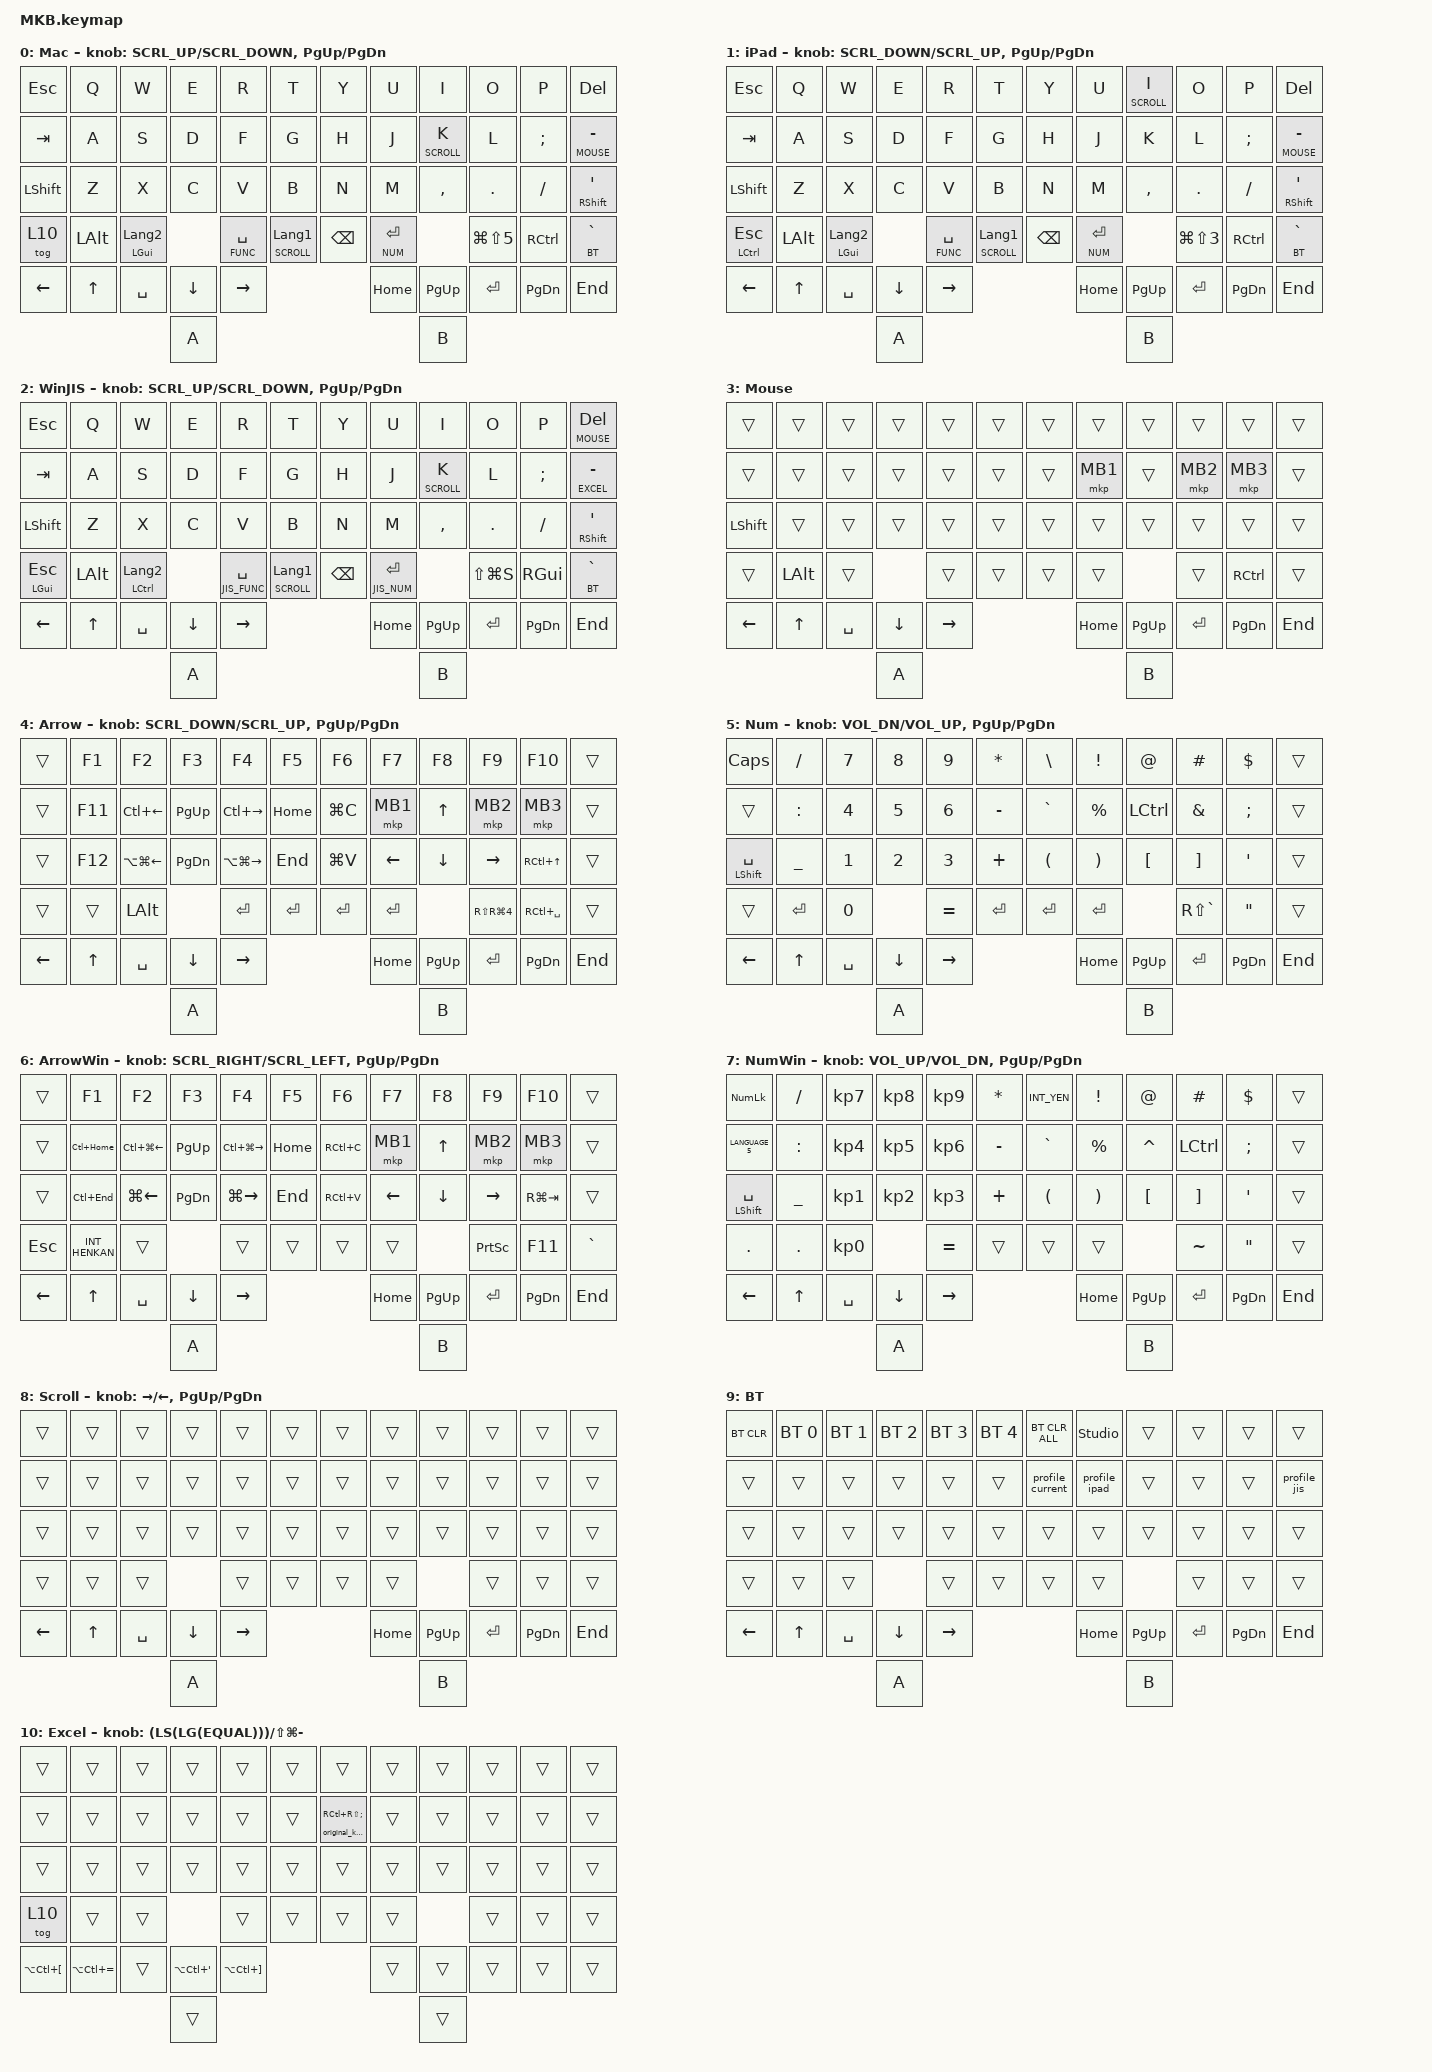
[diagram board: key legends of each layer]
// Wheel speed for &msc SCRL_UP / SCRL_DOWN. Must be defined before every include.

#define ZMK_POINTING_DEFAULT_SCRL_VAL 150

#include <behaviors.dtsi>
#include <dt-bindings/zmk/bt.h>
#include <dt-bindings/zmk/keys.h>
#include <dt-bindings/zmk/pointing.h>
#include "MKB_jis.dtsi"

// Must stay after the JIS/key/board headers: it redefines RC for both matrix and modifier use.

#include "MKB_modifiers.h"

// Layer order follows LiNEA40. These stay plain single-level numeric defines in this file
// (not in an include) so Keymap Editor can resolve them.

#define DEF 0
#define IPAD 1
#define JIS 2
#define MOUSE 3
#define FUNC 4
#define NUM 5
#define JIS_FUNC 6
#define JIS_NUM 7
#define SCROLL 8
#define BT 9
#define EXCEL 10

// Aliases for &kp. These are US semantic inputs (the layout shift converts them once for the JIS
// OS), not raw JIS physical codes.

#define JP_YEN          INT_YEN
#define JP_TILDE        TILDE
#define JP_BACKQUOTE    GRAVE
#define JP_UNDERSCORE   UNDERSCORE

&mt {
    flavor = "balanced";
    tapping-term-ms = <280>;
    quick-tap-ms = <175>;
    require-prior-idle-ms = <150>;
};

// Mouse wheel timing used by the encoder (same values as LiNEA40).

&msc {
    delay-ms = <3>;
    trigger-period-ms = <3>;
    time-to-max-speed-ms = <100>;
    acceleration-exponent = <0>;
};

// Layout-aware &kp (zmk-layout-shift v2 override), copied here so it comes after behaviors.dtsi
// and keeps working when Keymap Editor reorders the includes. The label property must stay
// identical to the kpls node: behavior lookup is by that shared label, so the single driver
// instance answers for both.

/ {
    behaviors {
        original_key_press: original_key_press {
            compatible = "zmk,behavior-key-press";
            #binding-cells = <1>;
            label = "KEY_PRESS";
        };

        kp: key_press {
            compatible = "zmk,behavior-layout-shift-key-press";
            #binding-cells = <1>;
            label = "LAYOUT_SHIFT_KEY_PRESS";
            display-name = "Key Press";
        };
    };
};

// The driver defines a single instance, so only &kp may stay enabled. mtls is a separate
// hold-tap; its keypress bindings are resolved through the shared label property, not through
// the same DT node. (The AML processor no longer looks at &kp: see the Mouse layer comment.)

&kpls { status = "disabled"; };

/ {
    behaviors {
        // Mouse wheel on the encoder: &encoder_msc_scroll <cw> <ccw>. The LiNEA40 values were the
        // initial reference; the Mac / iPad / WinJIS directions were then reversed for the user.

        encoder_msc_scroll: encoder_msc_scroll {
            compatible = "zmk,behavior-sensor-rotate-var";
            #sensor-binding-cells = <2>;
            bindings = <&msc>, <&msc>;

            tap-ms = <20>;
        };

        // Same timing as &lt. Holding enables Mouse (3) and protects it from the AML timeout.

        lt_mouse_keep: lt_mouse_keep {
            compatible = "zmk,behavior-hold-tap";
            #binding-cells = <2>;
            display-name = "Mouse Layer-Tap (AML guard)";
            flavor = "tap-preferred";
            tapping-term-ms = <200>;
            bindings = <&mouse_hold_keep>, <&kp>;
        };

        // Only sets the keep flag of the AML processor; it does not activate any layer.
        // Needs the runtime input processor labelled aml3 (snippets/Default/Default.overlay).

        keep_aml_mouse: keep_aml_mouse {
            compatible = "zmk,behavior-input-processor-temp-layer-keep-active";
            #binding-cells = <0>;
            display-name = "Keep AML Mouse";
            processor-name = "aml3";
        };
    };

    macros {
        // Keep flag first (only sets the flag, does not activate a layer), then the layer.
        // Released in the opposite order; after the release the keep flag is cleared and normal AML resumes.

        mouse_hold_keep: mouse_hold_keep {
            compatible = "zmk,behavior-macro-one-param";
            #binding-cells = <1>;
            display-name = "Mouse Hold (keep AML)";
            wait-ms = <0>;
            tap-ms = <0>;
            bindings =
                <&macro_press>,
                <&keep_aml_mouse &macro_param_1to1 &mo MACRO_PLACEHOLDER>,
                <&macro_pause_for_release>,
                <&macro_release>,
                <&macro_param_1to1 &mo MACRO_PLACEHOLDER &keep_aml_mouse>;
        };

        // Profile selectors for the BT layer: conversion state and base layer change together.
        // They do not touch Bluetooth pairing (use the BT_SEL keys for that).

        profile_current: profile_current {
            compatible = "zmk,behavior-macro";
            #binding-cells = <0>;
            display-name = "Profile: Mac";
            bindings = <&tog_ls_off &to DEF>;
        };

        profile_ipad: profile_ipad {
            compatible = "zmk,behavior-macro";
            #binding-cells = <0>;
            display-name = "Profile: iPad";
            bindings = <&tog_ls_off &to IPAD>;
        };

        profile_jis: profile_jis {
            compatible = "zmk,behavior-macro";
            #binding-cells = <0>;
            display-name = "Profile: WinJIS";
            bindings = <&tog_ls_on &to JIS>;
        };
    };
};

/ {
    combos {
        compatible = "zmk,combos";

        combo_1 {
            bindings = <&mkp MB1>;
            key-positions = <19 20>;
            layers = <0 1 2>;
            timeout-ms = <50>;
        };

        combo_2 {
            bindings = <&mkp MB2>;
            key-positions = <20 21>;
            layers = <0 1 2>;
            timeout-ms = <50>;
        };
    };
};

/ {
    keymap {
        compatible = "zmk,keymap";

        // ---- Layer 0: Mac (US layout OS). Fully explicit, no &trans: Keymap Editor shows every key. ----

        default_layer {
            label = "Mac";
            bindings = <
&kp ESCAPE  &kp Q         &kp W                    &kp E     &kp R           &kp T                      &kp Y          &kp U          &kp I         &kp O           &kp P      &kp DELETE
&kp TAB     &kp A         &kp S                    &kp D     &kp F           &kp G                      &kp H          &kp J          &lt SCROLL K  &kp L           &kp SEMI   &lt_mouse_keep MOUSE MINUS
&kp LSHFT   &kp Z         &kp X                    &kp C     &kp V           &kp B                      &kp N          &kp M          &kp COMMA     &kp DOT         &kp SLASH  &mt RIGHT_SHIFT SQT
&tog 10     &kp LEFT_ALT  &mt LEFT_GUI LANGUAGE_2            &lt FUNC SPACE  &lt SCROLL LANGUAGE_1      &kp BACKSPACE  &lt NUM ENTER                &kp LG(LS(N5))  &kp RCTRL  &lt BT GRAVE
&kp LEFT    &kp UP        &kp SPACE                &kp DOWN  &kp RIGHT                                                 &kp HOME       &kp PG_UP     &kp ENTER       &kp PG_DN  &kp END
                                                   &kp A                                                                              &kp B
            >;

            sensor-bindings =
                <&encoder_msc_scroll SCRL_UP SCRL_DOWN>,
                <&inc_dec_kp PG_UP PG_DN>;
        };

        // ---- Layer 1: iPad. Mac copy with the LiNEA40 differences: Scroll on I (K is plain),
        // iPad screenshot at 43, encoder direction reversed. Fully explicit. ----

        ipad_layer {
            label = "iPad";
            bindings = <
&kp ESCAPE    &kp Q         &kp W                    &kp E     &kp R           &kp T                      &kp Y          &kp U          &lt SCROLL I  &kp O           &kp P      &kp DELETE
&kp TAB       &kp A         &kp S                    &kp D     &kp F           &kp G                      &kp H          &kp J          &kp K         &kp L           &kp SEMI   &lt_mouse_keep MOUSE MINUS
&kp LSHFT     &kp Z         &kp X                    &kp C     &kp V           &kp B                      &kp N          &kp M          &kp COMMA     &kp DOT         &kp SLASH  &mt RIGHT_SHIFT SQT
&mt LCTL ESC  &kp LEFT_ALT  &mt LEFT_GUI LANGUAGE_2            &lt FUNC SPACE  &lt SCROLL LANGUAGE_1      &kp BACKSPACE  &lt NUM ENTER                &kp LG(LS(N3))  &kp RCTRL  &lt BT GRAVE
&kp LEFT      &kp UP        &kp SPACE                &kp DOWN  &kp RIGHT                                                 &kp HOME       &kp PG_UP     &kp ENTER       &kp PG_DN  &kp END
                                                     &kp A                                                                              &kp B
            >;

            sensor-bindings =
                <&encoder_msc_scroll SCRL_DOWN SCRL_UP>,
                <&inc_dec_kp PG_UP PG_DN>;
        };

        // ---- Layer 2: WinJIS (Windows, OS set to a JIS keyboard layout). Selected from the BT layer. ----
        // Mac copy with the Windows keys: Win/Esc at 36, MUHENKAN at 38, HENKAN (Scroll) at 40,
        // JFnc/JNum on the thumbs, Win+Shift+S screenshot. Fully explicit.
        // Minus (23) holds Excel (10). The manual Mouse layer moves to Delete (11), because the
        // 41-key LiNEA40 has no spare key for it on the MKB 58-key layout.

        jis_layer {
            label = "WinJIS";
            bindings = <
&kp ESCAPE        &kp Q         &kp W                 &kp E     &kp R               &kp T                      &kp Y          &kp U              &kp I         &kp O          &kp P          &lt_mouse_keep MOUSE DELETE
&kp TAB           &kp A         &kp S                 &kp D     &kp F               &kp G                      &kp H          &kp J              &lt SCROLL K  &kp L          &kp SEMI       &lt EXCEL MINUS
&kp LSHFT         &kp Z         &kp X                 &kp C     &kp V               &kp B                      &kp N          &kp M              &kp COMMA     &kp DOT        &kp SLASH      &mt RIGHT_SHIFT SQT
&mt LEFT_GUI ESC  &kp LEFT_ALT  &mt LCTRL LANGUAGE_2            &lt JIS_FUNC SPACE  &lt SCROLL LANGUAGE_1      &kp BACKSPACE  &lt JIS_NUM ENTER                &kp LS(LG(S))  &kp RIGHT_GUI  &lt BT GRAVE
&kp LEFT          &kp UP        &kp SPACE             &kp DOWN  &kp RIGHT                                                     &kp HOME           &kp PG_UP     &kp ENTER      &kp PG_DN      &kp END
                                                      &kp A                                                                                      &kp B
            >;

            sensor-bindings =
                <&encoder_msc_scroll SCRL_UP SCRL_DOWN>,
                <&inc_dec_kp PG_UP PG_DN>;
        };

        // ---- Layer 3: Mouse. Manual layer and the AML target (runtime processor "aml3"). ----
        // Clicks sit at 19 / 21 / 22. No sensor-bindings: the encoder follows the active base.
        //
        // AML keeps this layer on a key press only when the binding that key resolves to is a
        // non-transparent binding here, or an &mt whose hold modifier is in
        // temp-layer-keep-keycodes. The marker behavior is &mt (temp-layer-kp-behavior in
        // snippets/Default/Default.overlay); the runtime compares the behavior device and reads
        // param1, which for &mt is the hold modifier. Therefore:
        //  - 35 / 36 / 38 are &trans so the plain &mt of the active profile resolves
        //    (Mac: Ctrl/Cmd, WinJIS: Win/Ctrl). Do not replace those &mt with another hold-tap
        //    device; the marker would stop matching.
        //  - 24 (LSHFT), 37 (LALT) and 44 (RCTRL) are plain &kp in all three bases, so they are
        //    repeated here as &kp. Keep these three copies in sync with the base layers.

        mouse_layer {
            label = "Mouse";
            bindings = <
&trans     &trans    &trans     &trans    &trans     &trans      &trans  &trans    &trans     &trans     &trans     &trans
&trans     &trans    &trans     &trans    &trans     &trans      &trans  &mkp MB1  &trans     &mkp MB2   &mkp MB3   &trans
&kp LSHFT  &trans    &trans     &trans    &trans     &trans      &trans  &trans    &trans     &trans     &trans     &trans
&trans     &kp LALT  &trans               &trans     &trans      &trans  &trans               &trans     &kp RCTRL  &trans
&kp LEFT   &kp UP    &kp SPACE  &kp DOWN  &kp RIGHT                      &kp HOME  &kp PG_UP  &kp ENTER  &kp PG_DN  &kp END
                                &kp A                                              &kp B
            >;
        };

        // ---- Layer 4: Arrow (Mac function layer, held from the thumbs). ----

        function_layer {
            label = "Arrow";
            bindings = <
&trans    &kp F1   &kp F2              &kp F3         &kp F4             &kp F5         &kp F6     &kp F7          &kp F8          &kp F9                &kp F10           &trans
&trans    &kp F11  &kp LC(LEFT_ARROW)  &kp PAGE_UP    &kp LC(RIGHT)      &kp HOME       &kp LG(C)  &mkp MB1        &kp UP_ARROW    &mkp MB2              &mkp MB3          &trans
&trans    &kp F12  &kp LA(LG(LEFT))    &kp PAGE_DOWN  &kp LA(LG(RIGHT))  &kp END        &kp LG(V)  &kp LEFT_ARROW  &kp DOWN_ARROW  &kp RIGHT             &kp RC(UP_ARROW)  &trans
&trans    &trans   &kp LALT                           &kp ENTER          &kp ENTER      &kp ENTER  &kp ENTER                       &kp RS(RG(NUMBER_4))  &kp RC(SPACE)     &trans
&kp LEFT  &kp UP   &kp SPACE           &kp DOWN       &kp RIGHT                                    &kp HOME        &kp PG_UP       &kp ENTER             &kp PG_DN         &kp END
                                       &kp A                                                                       &kp B
            >;

            sensor-bindings =
                <&encoder_msc_scroll SCRL_DOWN SCRL_UP>,
                <&inc_dec_kp PG_UP PG_DN>;
        };

        // ---- Layer 5: Num (Mac number / symbol layer). ----

        num_layer {
            label = "Num";
            bindings = <
&kp CAPS         &kp SLASH  &kp NUMBER_7  &kp N8        &kp N9        &kp ASTERISK      &kp BACKSLASH         &kp EXCLAMATION        &kp AT_SIGN       &kp HASH           &kp DOLLAR         &trans
&trans           &kp COLON  &kp NUMBER_4  &kp N5        &kp NUMBER_6  &kp MINUS         &kp GRAVE             &kp PERCENT            &kp LCTRL         &kp AMPS           &kp SEMICOLON      &trans
&mt LSHFT SPACE  &kp UNDER  &kp NUMBER_1  &kp NUMBER_2  &kp NUMBER_3  &kp PLUS          &kp LEFT_PARENTHESIS  &kp RIGHT_PARENTHESIS  &kp LEFT_BRACKET  &kp RIGHT_BRACKET  &kp SQT            &trans
&trans           &kp ENTER  &kp N0                      &kp EQUAL     &kp ENTER         &kp ENTER             &kp ENTER                                &kp RS(GRAVE)      &kp DOUBLE_QUOTES  &trans
&kp LEFT         &kp UP     &kp SPACE     &kp DOWN      &kp RIGHT                                             &kp HOME               &kp PG_UP         &kp ENTER          &kp PG_DN          &kp END
                                          &kp A                                                                                      &kp B
            >;

            sensor-bindings =
                <&inc_dec_kp C_VOL_DN C_VOL_UP>,
                <&inc_dec_kp PG_UP PG_DN>;
        };

        // ---- Layer 6: ArrowWin (WinJIS function layer, held from the thumbs). ----
        // The 3x10 core follows the LiNEA40 ARROW_win_jp layer and sits on the inner ten columns of
        // rows 0-2 (positions 1-10, 13-22, 25-34). The outer positions 0 / 11 / 12 / 23 / 24 / 35
        // stay transparent. Bottom row (36-45) is LiNEA40 indices 30-40 without the unused 32.
        // The thumb keys 38-42 are transparent so the WinJIS thumb hold-taps keep working.

        jis_function_layer {
            label = "ArrowWin";
            bindings = <
&trans      &kp F1          &kp F2            &kp F3         &kp F4             &kp F5        &kp F6     &kp F7    &kp F8          &kp F9           &kp F10      &trans
&trans      &kp LC(HOME)    &kp LC(LG(LEFT))  &kp PAGE_UP    &kp LC(LG(RIGHT))  &kp HOME      &kp RC(C)  &mkp MB1  &kp UP_ARROW    &mkp MB2         &mkp MB3     &trans
&trans      &kp LC(END)     &kp LG(LEFT)      &kp PAGE_DOWN  &kp LG(RIGHT)      &kp END       &kp RC(V)  &kp LEFT  &kp DOWN_ARROW  &kp RIGHT        &kp RG(TAB)  &trans
&kp ESCAPE  &kp INT_HENKAN  &trans                           &trans             &trans        &trans     &trans                    &kp PRINTSCREEN  &kp F11      &kp GRAVE
&kp LEFT    &kp UP          &kp SPACE         &kp DOWN       &kp RIGHT                                   &kp HOME  &kp PG_UP       &kp ENTER        &kp PG_DN    &kp END
                                              &kp A                                                                &kp B
            >;

            sensor-bindings =
                <&encoder_msc_scroll SCRL_RIGHT SCRL_LEFT>,
                <&inc_dec_kp PG_UP PG_DN>;
        };

        // ---- Layer 7: NumWin (WinJIS number / symbol layer). ----
        // US symbol names go through &kp once; the layout shift converts them for the JIS OS.
        // The core 3x10 follows LiNEA40 NUM_win_jp, whose raw JIS codes were translated to the US
        // symbol that produces the same character on a JIS OS (translated once, never twice):
        // raw LEFT_BRACKET = @, EQUAL = ^, CARET = &, RS(COLON) = +, PLUS = ~, AT_SIGN = ".
        // The digits are keypad digits, so Windows needs NumLock on: KP_NUMLOCK is at position 0.
        // Outer keys: 0 NumLock, 12 Hankaku/Zenkaku; 11 / 23 / 45 are transparent. Caret is in the
        // core (position 20). Braces are Shift+[ and Shift+]. Bottom row: 43 ~, 44 ".

        jis_num_layer {
            label = "NumWin";
            bindings = <
&kp KP_NUMLOCK   &kp SLASH       &kp KP_NUMBER_7  &kp KP_NUMBER_8  &kp KP_NUMBER_9  &kp ASTERISK      &kp INT_YEN           &kp EXCLAMATION        &kp AT_SIGN       &kp HASH           &kp DOLLAR         &trans
&kp LANGUAGE_5   &kp COLON       &kp KP_NUMBER_4  &kp KP_NUMBER_5  &kp KP_NUMBER_6  &kp MINUS         &kp GRAVE             &kp PERCENT            &kp CARET         &kp LCTRL          &kp SEMICOLON      &trans
&mt LSHFT SPACE  &kp UNDERSCORE  &kp KP_NUMBER_1  &kp KP_NUMBER_2  &kp KP_NUMBER_3  &kp PLUS          &kp LEFT_PARENTHESIS  &kp RIGHT_PARENTHESIS  &kp LEFT_BRACKET  &kp RIGHT_BRACKET  &kp SQT            &trans
&kp PERIOD       &kp PERIOD      &kp KP_NUMBER_0                   &kp EQUAL        &trans            &trans                &trans                                   &kp TILDE          &kp DOUBLE_QUOTES  &trans
&kp LEFT         &kp UP          &kp SPACE        &kp DOWN         &kp RIGHT                                                &kp HOME               &kp PG_UP         &kp ENTER          &kp PG_DN          &kp END
                                                  &kp A                                                                                            &kp B
            >;

            sensor-bindings =
                <&inc_dec_kp C_VOL_UP C_VOL_DN>,
                <&inc_dec_kp PG_UP PG_DN>;
        };

        // ---- Layer 8: Scroll. The ball scrolls here (see the listener in Default.overlay). ----

        scroll_layer {
            label = "Scroll";
            bindings = <
&trans    &trans  &trans     &trans    &trans     &trans      &trans  &trans    &trans     &trans     &trans     &trans
&trans    &trans  &trans     &trans    &trans     &trans      &trans  &trans    &trans     &trans     &trans     &trans
&trans    &trans  &trans     &trans    &trans     &trans      &trans  &trans    &trans     &trans     &trans     &trans
&trans    &trans  &trans               &trans     &trans      &trans  &trans               &trans     &trans     &trans
&kp LEFT  &kp UP  &kp SPACE  &kp DOWN  &kp RIGHT                      &kp HOME  &kp PG_UP  &kp ENTER  &kp PG_DN  &kp END
                             &kp A                                              &kp B
            >;

            sensor-bindings =
                <&inc_dec_kp RIGHT_ARROW LEFT_ARROW>,
                <&inc_dec_kp PG_UP PG_DN>;
        };

        // ---- Layer 9: BT. Bluetooth keys, studio unlock and the three profile selectors.
        // No sensor-bindings: the encoder follows the active base. ----
        // H (18) = Mac, J (19) = iPad, Minus (23) = WinJIS. The selectors do not change the BT pairing.

        bt_layer {
            label = "BT";
            bindings = <
&bt BT_CLR  &bt BT_SEL 0  &bt BT_SEL 1  &bt BT_SEL 2  &bt BT_SEL 3  &bt BT_SEL 4      &bt BT_CLR_ALL    &studio_unlock  &trans     &trans     &trans     &trans
&trans      &trans        &trans        &trans        &trans        &trans            &profile_current  &profile_ipad   &trans     &trans     &trans     &profile_jis
&trans      &trans        &trans        &trans        &trans        &trans            &trans            &trans          &trans     &trans     &trans     &trans
&trans      &trans        &trans                      &trans        &trans            &trans            &trans                     &trans     &trans     &trans
&kp LEFT    &kp UP        &kp SPACE     &kp DOWN      &kp RIGHT                                         &kp HOME        &kp PG_UP  &kp ENTER  &kp PG_DN  &kp END
                                        &kp A                                                                           &kp B
            >;
        };

        // ---- Layer 10: Excel. Held with Minus on WinJIS (23). H (18) sends the raw
        // Ctrl+Shift+; chord of LiNEA40 through the original (non layout-shifted) &kp, so it
        // bypasses the JIS conversion. Everything else falls through to the active base, and the
        // layer has no sensor-bindings. ----

        Affinity {
            label = "Excel";
            bindings = <
&trans                    &trans             &trans  &trans           &trans                     &trans      &trans                                 &trans  &trans  &trans  &trans  &trans
&trans                    &trans             &trans  &trans           &trans                     &trans      &original_key_press RC(RS(SEMICOLON))  &trans  &trans  &trans  &trans  &trans
&trans                    &trans             &trans  &trans           &trans                     &trans      &trans                                 &trans  &trans  &trans  &trans  &trans
&tog 10                   &trans             &trans                   &trans                     &trans      &trans                                 &trans          &trans  &trans  &trans
&kp LA(LC(LEFT_BRACKET))  &kp LA(LC(EQUAL))  &trans  &kp LA(LC(SQT))  &kp LA(LC(RIGHT_BRACKET))                                                     &trans  &trans  &trans  &trans  &trans
                                                     &trans                                                                                                 &trans
            >;

            sensor-bindings = <&inc_dec_kp (LS(LG(EQUAL))) LS(LG(MINUS))>;
        };
    };
};
